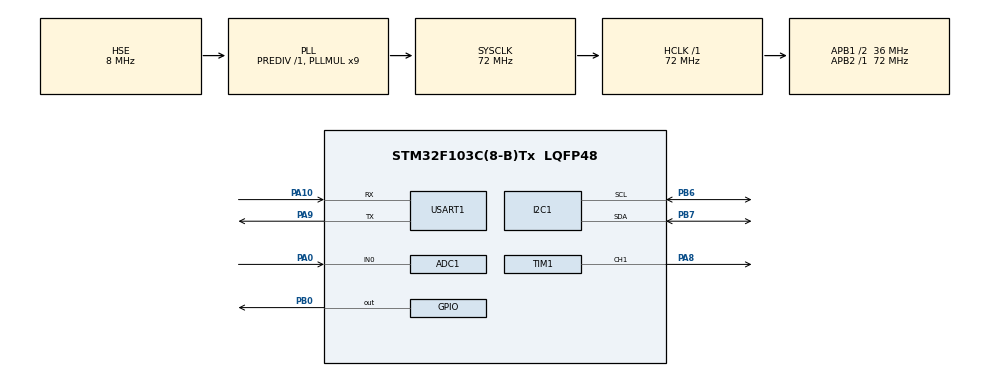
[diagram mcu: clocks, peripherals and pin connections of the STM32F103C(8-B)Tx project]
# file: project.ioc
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ADC1.Channel-0\#ChannelRegularConversion=ADC_CHANNEL_0
ADC1.ContinuousConvMode=ENABLE
ADC1.NbrOfConversionFlag=1
ADC1.Rank-0\#ChannelRegularConversion=1
ADC1.SamplingTime-0\#ChannelRegularConversion=ADC_SAMPLETIME_1CYCLE_5
ADC1.master=1
Mcu.Family=STM32F1
Mcu.Name=STM32F103C(8-B)Tx
Mcu.Package=LQFP48
NVIC.PriorityGroup=NVIC_PRIORITYGROUP_4
PA0-WKUP.Signal=ADCx_IN0
PA10.Mode=Asynchronous
PA10.Signal=USART1_RX
PA13.Mode=Serial_Wire
PA13.Signal=SYS_JTMS-SWDIO
PA14.Mode=Serial_Wire
PA14.Signal=SYS_JTCK-SWCLK
PA8.Signal=S_TIM1_CH1
PA9.Mode=Asynchronous
PA9.Signal=USART1_TX
PB0.Signal=GPIO_Output
PB6.Mode=I2C
PB6.Signal=I2C1_SCL
PB7.Mode=I2C
PB7.Signal=I2C1_SDA
PD0-OSC_IN.Mode=HSE-External-Oscillator
PD0-OSC_IN.Signal=RCC_OSC_IN
PD1-OSC_OUT.Mode=HSE-External-Oscillator
PD1-OSC_OUT.Signal=RCC_OSC_OUT
ProjectManager.HeapSize=0x200
ProjectManager.StackSize=0x400
ProjectManager.TargetToolchain=Makefile
RCC.ADCPresc=RCC_ADCPCLK2_DIV6
RCC.AHBFreq_Value=72000000
RCC.APB1CLKDivider=RCC_HCLK_DIV2
RCC.APB1Freq_Value=36000000
RCC.APB1TimFreq_Value=72000000
RCC.APB2Freq_Value=72000000
RCC.APB2TimFreq_Value=72000000
RCC.HCLKFreq_Value=72000000
RCC.PLLMUL=RCC_PLL_MUL9
RCC.PLLSourceVirtual=RCC_PLLSOURCE_HSE
RCC.SYSCLKFreq_VALUE=72000000
RCC.SYSCLKSource=RCC_SYSCLKSOURCE_PLLCLK
RCC.USBFreq_Value=72000000
SH.ADCx_IN0.0=ADC1_IN0,IN0
SH.S_TIM1_CH1.0=TIM1_CH1,PWM Generation1 CH1
TIM1.Channel-PWM\ Generation1\ CH1=TIM_CHANNEL_1
USART1.VirtualMode=VM_ASYNC
board=custom

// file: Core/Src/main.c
/* USER CODE BEGIN Header */
/**
  ******************************************************************************
  * @file           : main.c
  * @brief          : Main program body
  ******************************************************************************
  * @attention
  *
  * Copyright (c) 2026 STMicroelectronics.
  * All rights reserved.
  *
  * This software is licensed under terms that can be found in the LICENSE file
  * in the root directory of this software component.
  * If no LICENSE file comes with this software, it is provided AS-IS.
  *
  ******************************************************************************
  */
/* USER CODE END Header */
#include "main.h"

/* USER CODE BEGIN Includes */
#include <stdio.h>
#include <string.h>
#include <stdlib.h>
/* USER CODE END Includes */

ADC_HandleTypeDef hadc1;

I2C_HandleTypeDef hi2c1;

TIM_HandleTypeDef htim1;

UART_HandleTypeDef huart1;

/* USER CODE BEGIN PV */
typedef struct {
    float Kp, Ki, Kd;
    float err, err_last, err_sum;
} PID_t;

PID_t pid_v = {0.05f, 0.002f, 0.0f, 0, 0, 0};  // 电压外环
PID_t pid_i = {0.1f, 0.02f, 0.0f, 0, 0, 0};   // 电流内环

float V_target = 5.0f, V_fb = 0, I_fb = 0, duty = 0.5f;
volatile float V_cmd = 5.0f;
volatile float I_limit = 2.0f;  // 电流限制，默认2A
uint8_t rx_buf[10], rx_idx = 0;
/* USER CODE END PV */

void SystemClock_Config(void);
static void MX_GPIO_Init(void);
static void MX_ADC1_Init(void);
static void MX_I2C1_Init(void);
static void MX_TIM1_Init(void);
static void MX_USART1_UART_Init(void);

/* USER CODE BEGIN 0 */
float PID_Inc(PID_t *pid, float target, float feedback) {
    pid->err = target - feedback;
    float out = pid->Kp * (pid->err - pid->err_last) + pid->Ki * pid->err + pid->Kd * (pid->err - 2*pid->err_last + pid->err_sum);
    pid->err_sum = pid->err_last;
    pid->err_last = pid->err;
    return out;
}

// INA226 寄存器地址
#define INA226_ADDR   (0x40 << 1)
#define INA226_CFG    0x00
#define INA226_SV_REG 0x01  // 分流电压
#define INA226_BV_REG 0x02  // 总线电压
#define INA226_CUR    0x04  // 电流

static void INA226_WriteReg(uint8_t reg, uint16_t val) {
    uint8_t buf[3] = {reg, val >> 8, val & 0xFF};
    HAL_I2C_Master_Transmit(&hi2c1, INA226_ADDR, buf, 3, 10);
}

static uint16_t INA226_ReadReg(uint8_t reg) {
    uint8_t buf[2];
    HAL_I2C_Master_Transmit(&hi2c1, INA226_ADDR, &reg, 1, 10);
    HAL_I2C_Master_Receive(&hi2c1, INA226_ADDR, buf, 2, 10);
    return (buf[0] << 8) | buf[1];
}

void INA226_Init(void) {
    INA226_WriteReg(INA226_CFG, 0x484F);  // 平均128次，204us转换时间，连续模式
    INA226_WriteReg(0x05, 0x6400);        // CAL = 25600，LSB=0.1mA，R=2mΩ
}

void Read_I2C_Sensor(void) {
    uint16_t bv = INA226_ReadReg(INA226_BV_REG);
    V_fb = bv * 1.25f * 0.001f;

    // 读分流电压寄存器（0x01），2.5uV/bit，手动换算电流
    uint16_t sv = INA226_ReadReg(INA226_SV_REG);
    int16_t sv_signed = (int16_t)sv;
    // 分流电压(uV) / 采样电阻(Ω) = 电流(A)
    // 采样电阻根据实测校准，暂用10mΩ
    I_fb = sv_signed * 2.5e-6f / 0.0132f * (0.5f / 0.374f);
}

void Control_Loop(void) {
    V_target = V_cmd;
    Read_I2C_Sensor();

    // CV/CC 自动切换：电流超限时切恒流，否则恒压
    if(I_fb >= I_limit) {
        // 恒流模式：控制电流等于限制值
        duty += PID_Inc(&pid_i, I_limit, I_fb);
    } else {
        // 恒压模式：控制电压等于目标值
        duty += PID_Inc(&pid_v, V_target, V_fb);
    }
    if(duty > 0.95f) duty = 0.95f;
    if(duty < 0.05f) duty = 0.05f;

    __HAL_TIM_SET_COMPARE(&htim1, TIM_CHANNEL_1, (uint16_t)(duty * 719));

    static uint32_t last_print = 0;
    if(HAL_GetTick() - last_print >= 1000) {
        last_print = HAL_GetTick();
        const char *mode = (I_fb >= I_limit) ? "CC" : "CV";
        char tx[128];
        int len = snprintf(tx, sizeof(tx),
            "=============================\r\n"
            " Mode: %-2s\r\n"
            " Vset: %d.%02d V\r\n"
            " Vout: %d.%02d V\r\n"
            " Iout: %d.%03d A\r\n"
            " Ilim: %d.%02d A\r\n"
            " Duty: %d%%\r\n",
            mode,
            (int)(V_target*100)/100, (int)(V_target*100)%100,
            (int)(V_fb*100)/100,     (int)(V_fb*100)%100,
            (int)(I_fb*1000)/1000,   (int)(I_fb*1000)%1000,
            (int)(I_limit*100)/100,  (int)(I_limit*100)%100,
            (int)(duty*100));
        HAL_UART_Transmit(&huart1, (uint8_t*)tx, len, 200);
    }
}
/* USER CODE END 0 */

int main(void)
{

  /* MCU Configuration--------------------------------------------------------*/

  /* Reset of all peripherals, Initializes the Flash interface and the Systick. */
  HAL_Init();

  /* Configure the system clock */
  SystemClock_Config();

  /* Initialize all configured peripherals */
  MX_GPIO_Init();
  MX_ADC1_Init();
  MX_I2C1_Init();
  MX_TIM1_Init();
  MX_USART1_UART_Init();
  /* USER CODE BEGIN 2 */
  INA226_Init();
  HAL_TIM_PWM_Start(&htim1, TIM_CHANNEL_1);
  HAL_GPIO_WritePin(GPIOB, GPIO_PIN_0, GPIO_PIN_SET);
  HAL_UART_Receive_IT(&huart1, &rx_buf[0], 1);
  /* USER CODE END 2 */

  /* Infinite loop */
  while (1)
  {

    /* USER CODE BEGIN 3 */
    Control_Loop();
    HAL_Delay(10);
  }
  /* USER CODE END 3 */
}

void SystemClock_Config(void)
{
  RCC_OscInitTypeDef RCC_OscInitStruct = {0};
  RCC_ClkInitTypeDef RCC_ClkInitStruct = {0};
  RCC_PeriphCLKInitTypeDef PeriphClkInit = {0};

  /** Initializes the RCC Oscillators according to the specified parameters
  * in the RCC_OscInitTypeDef structure.
  */
  RCC_OscInitStruct.OscillatorType = RCC_OSCILLATORTYPE_HSE;
  RCC_OscInitStruct.HSEState = RCC_HSE_ON;
  RCC_OscInitStruct.HSEPredivValue = RCC_HSE_PREDIV_DIV1;
  RCC_OscInitStruct.HSIState = RCC_HSI_ON;
  RCC_OscInitStruct.PLL.PLLState = RCC_PLL_ON;
  RCC_OscInitStruct.PLL.PLLSource = RCC_PLLSOURCE_HSE;
  RCC_OscInitStruct.PLL.PLLMUL = RCC_PLL_MUL9;
  if (HAL_RCC_OscConfig(&RCC_OscInitStruct) != HAL_OK)
  {
    Error_Handler();
  }

  /** Initializes the CPU, AHB and APB buses clocks
  */
  RCC_ClkInitStruct.ClockType = RCC_CLOCKTYPE_HCLK|RCC_CLOCKTYPE_SYSCLK
                              |RCC_CLOCKTYPE_PCLK1|RCC_CLOCKTYPE_PCLK2;
  RCC_ClkInitStruct.SYSCLKSource = RCC_SYSCLKSOURCE_PLLCLK;
  RCC_ClkInitStruct.AHBCLKDivider = RCC_SYSCLK_DIV1;
  RCC_ClkInitStruct.APB1CLKDivider = RCC_HCLK_DIV2;
  RCC_ClkInitStruct.APB2CLKDivider = RCC_HCLK_DIV1;

  if (HAL_RCC_ClockConfig(&RCC_ClkInitStruct, FLASH_LATENCY_2) != HAL_OK)
  {
    Error_Handler();
  }
  PeriphClkInit.PeriphClockSelection = RCC_PERIPHCLK_ADC;
  PeriphClkInit.AdcClockSelection = RCC_ADCPCLK2_DIV6;
  if (HAL_RCCEx_PeriphCLKConfig(&PeriphClkInit) != HAL_OK)
  {
    Error_Handler();
  }
}

static void MX_ADC1_Init(void)
{

  ADC_ChannelConfTypeDef sConfig = {0};

  /** Common config
  */
  hadc1.Instance = ADC1;
  hadc1.Init.ScanConvMode = ADC_SCAN_DISABLE;
  hadc1.Init.ContinuousConvMode = ENABLE;
  hadc1.Init.DiscontinuousConvMode = DISABLE;
  hadc1.Init.ExternalTrigConv = ADC_SOFTWARE_START;
  hadc1.Init.DataAlign = ADC_DATAALIGN_RIGHT;
  hadc1.Init.NbrOfConversion = 1;
  if (HAL_ADC_Init(&hadc1) != HAL_OK)
  {
    Error_Handler();
  }

  /** Configure Regular Channel
  */
  sConfig.Channel = ADC_CHANNEL_0;
  sConfig.Rank = ADC_REGULAR_RANK_1;
  sConfig.SamplingTime = ADC_SAMPLETIME_1CYCLE_5;
  if (HAL_ADC_ConfigChannel(&hadc1, &sConfig) != HAL_OK)
  {
    Error_Handler();
  }

}

static void MX_I2C1_Init(void)
{

  hi2c1.Instance = I2C1;
  hi2c1.Init.ClockSpeed = 100000;
  hi2c1.Init.DutyCycle = I2C_DUTYCYCLE_2;
  hi2c1.Init.OwnAddress1 = 0;
  hi2c1.Init.AddressingMode = I2C_ADDRESSINGMODE_7BIT;
  hi2c1.Init.DualAddressMode = I2C_DUALADDRESS_DISABLE;
  hi2c1.Init.OwnAddress2 = 0;
  hi2c1.Init.GeneralCallMode = I2C_GENERALCALL_DISABLE;
  hi2c1.Init.NoStretchMode = I2C_NOSTRETCH_DISABLE;
  if (HAL_I2C_Init(&hi2c1) != HAL_OK)
  {
    Error_Handler();
  }

}

static void MX_TIM1_Init(void)
{

  TIM_MasterConfigTypeDef sMasterConfig = {0};
  TIM_OC_InitTypeDef sConfigOC = {0};
  TIM_BreakDeadTimeConfigTypeDef sBreakDeadTimeConfig = {0};

  htim1.Instance = TIM1;
  htim1.Init.Prescaler = 0;
  htim1.Init.CounterMode = TIM_COUNTERMODE_UP;
  htim1.Init.Period = 719;  // 72MHz / 720 = 100kHz
  htim1.Init.ClockDivision = TIM_CLOCKDIVISION_DIV1;
  htim1.Init.RepetitionCounter = 0;
  htim1.Init.AutoReloadPreload = TIM_AUTORELOAD_PRELOAD_DISABLE;
  if (HAL_TIM_PWM_Init(&htim1) != HAL_OK)
  {
    Error_Handler();
  }
  sMasterConfig.MasterOutputTrigger = TIM_TRGO_RESET;
  sMasterConfig.MasterSlaveMode = TIM_MASTERSLAVEMODE_DISABLE;
  if (HAL_TIMEx_MasterConfigSynchronization(&htim1, &sMasterConfig) != HAL_OK)
  {
    Error_Handler();
  }
  sConfigOC.OCMode = TIM_OCMODE_PWM1;
  sConfigOC.Pulse = 0;
  sConfigOC.OCPolarity = TIM_OCPOLARITY_HIGH;
  sConfigOC.OCNPolarity = TIM_OCNPOLARITY_HIGH;
  sConfigOC.OCFastMode = TIM_OCFAST_DISABLE;
  sConfigOC.OCIdleState = TIM_OCIDLESTATE_RESET;
  sConfigOC.OCNIdleState = TIM_OCNIDLESTATE_RESET;
  if (HAL_TIM_PWM_ConfigChannel(&htim1, &sConfigOC, TIM_CHANNEL_1) != HAL_OK)
  {
    Error_Handler();
  }
  sBreakDeadTimeConfig.OffStateRunMode = TIM_OSSR_DISABLE;
  sBreakDeadTimeConfig.OffStateIDLEMode = TIM_OSSI_DISABLE;
  sBreakDeadTimeConfig.LockLevel = TIM_LOCKLEVEL_OFF;
  sBreakDeadTimeConfig.DeadTime = 0;
  sBreakDeadTimeConfig.BreakState = TIM_BREAK_DISABLE;
  sBreakDeadTimeConfig.BreakPolarity = TIM_BREAKPOLARITY_HIGH;
  sBreakDeadTimeConfig.AutomaticOutput = TIM_AUTOMATICOUTPUT_DISABLE;
  if (HAL_TIMEx_ConfigBreakDeadTime(&htim1, &sBreakDeadTimeConfig) != HAL_OK)
  {
    Error_Handler();
  }
  HAL_TIM_MspPostInit(&htim1);

}

static void MX_USART1_UART_Init(void)
{

  huart1.Instance = USART1;
  huart1.Init.BaudRate = 115200;
  huart1.Init.WordLength = UART_WORDLENGTH_8B;
  huart1.Init.StopBits = UART_STOPBITS_1;
  huart1.Init.Parity = UART_PARITY_NONE;
  huart1.Init.Mode = UART_MODE_TX_RX;
  huart1.Init.HwFlowCtl = UART_HWCONTROL_NONE;
  huart1.Init.OverSampling = UART_OVERSAMPLING_16;
  if (HAL_UART_Init(&huart1) != HAL_OK)
  {
    Error_Handler();
  }

}

static void MX_GPIO_Init(void)
{
  GPIO_InitTypeDef GPIO_InitStruct = {0};

  /* GPIO Ports Clock Enable */
  __HAL_RCC_GPIOD_CLK_ENABLE();
  __HAL_RCC_GPIOA_CLK_ENABLE();
  __HAL_RCC_GPIOB_CLK_ENABLE();

  /*Configure GPIO pin Output Level */
  HAL_GPIO_WritePin(GPIOB, GPIO_PIN_0, GPIO_PIN_RESET);

  /*Configure GPIO pin : PB0 */
  GPIO_InitStruct.Pin = GPIO_PIN_0;
  GPIO_InitStruct.Mode = GPIO_MODE_OUTPUT_PP;
  GPIO_InitStruct.Pull = GPIO_NOPULL;
  GPIO_InitStruct.Speed = GPIO_SPEED_FREQ_LOW;
  HAL_GPIO_Init(GPIOB, &GPIO_InitStruct);

}

/* USER CODE BEGIN 4 */
void HAL_UART_RxCpltCallback(UART_HandleTypeDef *huart) {
    if(huart->Instance == USART1) {
        uint8_t c = rx_buf[rx_idx];
        if((c >= '0' && c <= '9') || c == '.' || c == 'I' || c == 'i') {
            if(rx_idx < 9) rx_idx++;
        } else {
            rx_buf[rx_idx] = 0;
            if(rx_idx > 0) {
                char *p = (char*)rx_buf;
                if(p[0] == 'I' || p[0] == 'i') {
                    // 设置电流限制，格式 I1.5
                    float il = atof(p + 1);
                    if(il >= 0.5f && il <= 2.0f) {
                        I_limit = il;
                        char ack[32];
                        int n = snprintf(ack, sizeof(ack), "SET IL=%d.%03d\r\n", (int)(il*1000)/1000, (int)(il*1000)%1000);
                        HAL_UART_Transmit(&huart1, (uint8_t*)ack, n, 50);
                    }
                } else {
                    // 设置目标电压
                    float v = atof(p);
                    if(v >= 5.0f && v <= 12.0f) {
                        V_cmd = v;
                        char ack[32];
                        int n = snprintf(ack, sizeof(ack), "SET T=%d.%02d\r\n", (int)(v*100)/100, (int)(v*100)%100);
                        HAL_UART_Transmit(&huart1, (uint8_t*)ack, n, 50);
                    }
                }
            }
            rx_idx = 0;
        }
        HAL_UART_Receive_IT(&huart1, &rx_buf[rx_idx], 1);
    }
}
/* USER CODE END 4 */

void Error_Handler(void)
{
  __disable_irq();
  while (1)
  {
  }
}
